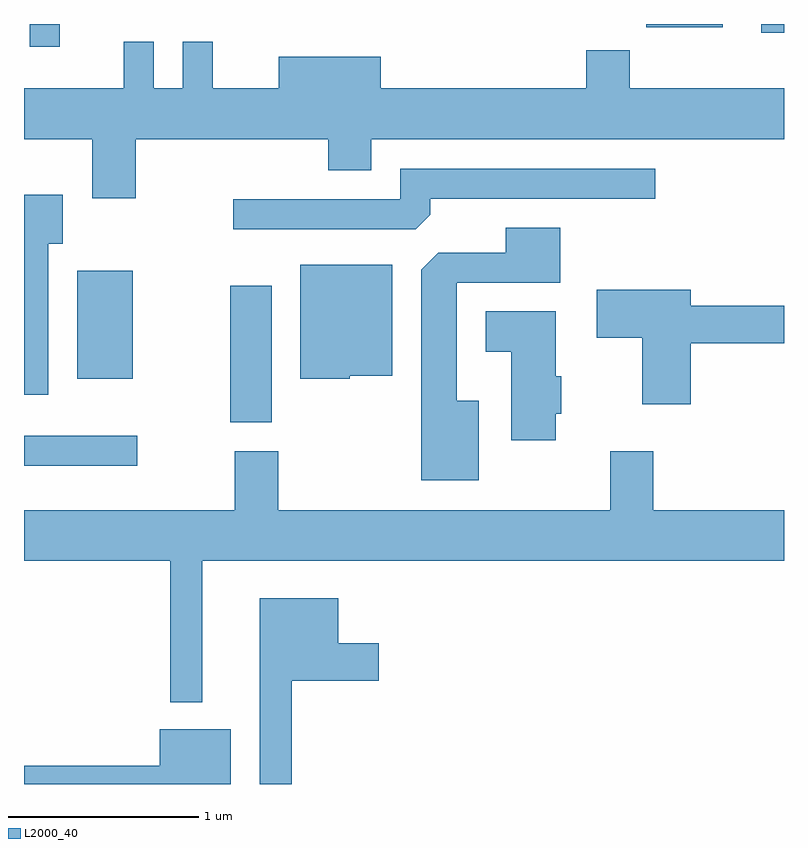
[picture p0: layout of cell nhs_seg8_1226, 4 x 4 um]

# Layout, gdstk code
import gdstk
lib = gdstk.Library(unit=1e-6, precision=1e-09)
def R(c, l, rs):  # rectangles x0, y0, x1, y1
    for r in rs: c.add(gdstk.rectangle(r[:2], r[2:], *l))
def P(c, l, *ps):  # polygons
    for p in ps: c.add(gdstk.Polygon(p, *l))
L2000_40 = (2000, 40)

nhs_seg8_1226 = lib.new_cell('nhs_seg8_1226')
R(nhs_seg8_1226, L2000_40, [(221.611,1848.016,222.208,1848.174), (222.696,1848.246,222.914,1848.964), (221.891,1848.476,222.184,1849.044), (221.641,1850.223,221.799,1850.342), (225.491,1850.296,225.611,1850.342), (224.886,1850.326,225.289,1850.342), (222.891,1850.341,223.988,1850.342)])
P(nhs_seg8_1226, L2000_40, [(222.199,1849.736),(223.211,1849.736),(223.211,1849.571),(223.439,1849.571),(223.439,1849.736),(225.611,1849.736),(225.611,1850.004),(224.799,1850.004),(224.799,1850.204),(224.571,1850.204),(224.571,1850.004),(223.489,1850.004),(223.489,1850.169),(222.951,1850.169),(222.951,1850.004),(222.604,1850.004),(222.604,1850.248),(222.446,1850.248),(222.446,1850.004),(222.294,1850.004),(222.294,1850.248),(222.136,1850.248),(222.136,1850.004),(221.611,1850.004),(221.611,1849.736),(221.971,1849.736),(221.971,1849.426),(222.199,1849.426)],
  [(223.749,1849.337),(223.749,1849.421),(224.933,1849.421),(224.933,1849.579),(223.591,1849.579),(223.591,1849.419),(222.713,1849.419),(222.713,1849.261),(223.674,1849.261)],
  [(221.739,1849.186),(221.814,1849.186),(221.814,1849.444),(221.611,1849.444),(221.611,1848.391),(221.739,1848.391)],
  [(224.004,1848.359),(223.889,1848.359),(223.889,1848.981),(224.434,1848.981),(224.434,1849.269),(224.146,1849.269),(224.146,1849.139),(223.792,1849.139),(223.701,1849.049),(223.701,1847.941),(224.004,1847.941)],
  [(223.325,1848.491),(223.549,1848.491),(223.549,1849.074),(223.066,1849.074),(223.066,1848.476),(223.325,1848.476)],
  [(225.119,1848.661),(225.611,1848.661),(225.611,1848.859),(225.119,1848.859),(225.119,1848.944),(224.626,1848.944),(224.626,1848.691),(224.866,1848.691),(224.866,1848.341),(225.119,1848.341)],
  [(224.409,1848.291),(224.439,1848.291),(224.439,1848.489),(224.409,1848.489),(224.409,1848.829),(224.041,1848.829),(224.041,1848.616),(224.176,1848.616),(224.176,1848.151),(224.409,1848.151)],
  [(222.549,1847.516),(225.611,1847.516),(225.611,1847.784),(224.924,1847.784),(224.924,1848.094),(224.696,1848.094),(224.696,1847.784),(222.949,1847.784),(222.949,1848.094),(222.721,1848.094),(222.721,1847.784),(221.611,1847.784),(221.611,1847.516),(222.381,1847.516),(222.381,1846.773),(222.549,1846.773)],
  [(223.019,1846.886),(223.479,1846.886),(223.479,1847.084),(223.264,1847.084),(223.264,1847.319),(222.851,1847.319),(222.851,1846.342),(223.019,1846.342)],
  [(222.699,1846.629),(222.326,1846.629),(222.326,1846.439),(221.611,1846.439),(221.611,1846.342),(222.699,1846.342)])

lib.write_gds('nhs_seg8_1226.gds')
